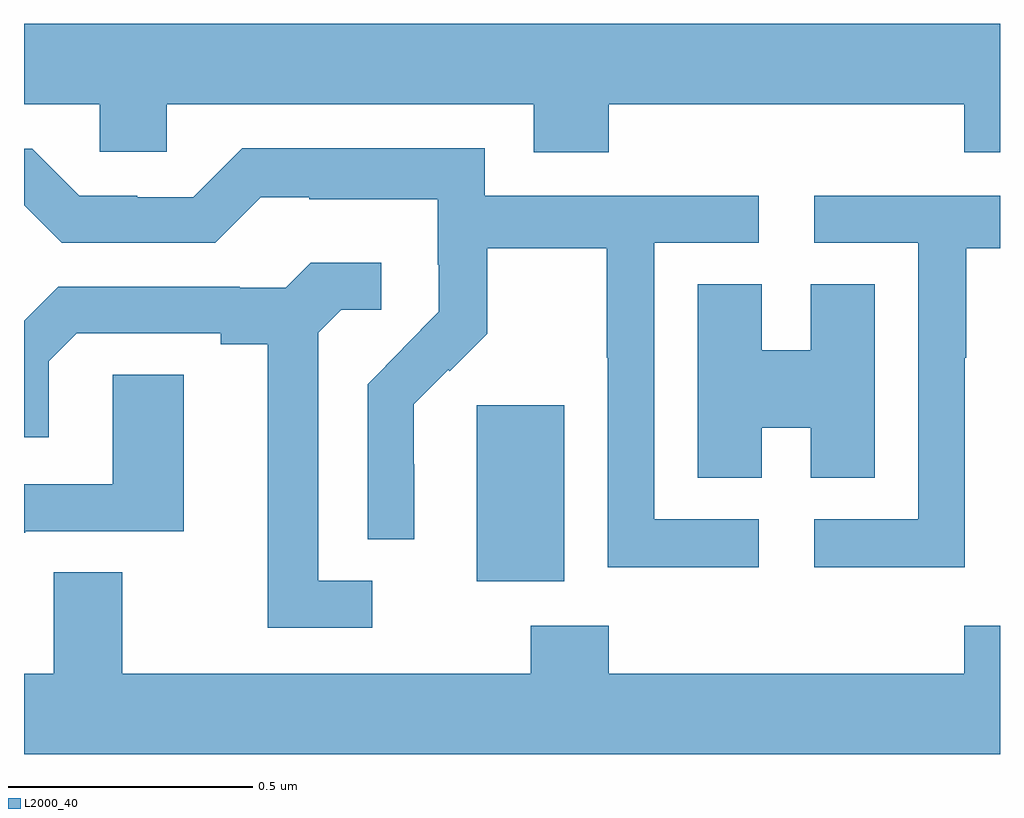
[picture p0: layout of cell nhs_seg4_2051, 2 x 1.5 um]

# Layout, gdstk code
import gdstk
lib = gdstk.Library(unit=1e-6, precision=1e-09)
def R(c, l, rs):  # rectangles x0, y0, x1, y1
    for r in rs: c.add(gdstk.rectangle(r[:2], r[2:], *l))
def P(c, l, *ps):  # polygons
    for p in ps: c.add(gdstk.Polygon(p, *l))
L2000_40 = (2000, 40)

nhs_seg4_2051 = lib.new_cell('nhs_seg4_2051')
R(nhs_seg4_2051, L2000_40, [(136.928,758.546,137.107,758.907)])
P(nhs_seg4_2051, L2000_40, [(137.198,759.524),(137.927,759.524),(137.927,759.425),(138,759.425),(138,759.688),(136,759.688),(136,759.524),(136.155,759.524),(136.155,759.426),(136.293,759.426),(136.293,759.524),(137.045,759.524),(137.045,759.425),(137.198,759.425)],
  [(137.506,758.673),(137.292,758.673),(137.292,759.24),(137.506,759.24),(137.506,759.336),(136.944,759.336),(136.944,759.433),(136.447,759.433),(136.347,759.333),(136.232,759.333),(136.232,759.336),(136.113,759.336),(136.017,759.432),(136,759.432),(136,759.317),(136.077,759.24),(136.392,759.24),(136.485,759.333),(136.585,759.333),(136.585,759.329),(136.848,759.329),(136.848,759.195),(136.85,759.195),(136.85,759.098),(136.776,759.024),(136.777,759.023),(136.704,758.95),(136.704,758.632),(136.8,758.632),(136.8,758.786),(136.799,758.786),(136.799,758.909),(136.869,758.979),(136.872,758.976),(136.949,759.053),(136.949,759.228),(137.194,759.228),(137.194,759.004),(137.196,759.004),(137.196,758.575),(137.506,758.575)],
  [(137.928,759.004),(137.931,759.004),(137.931,759.228),(138,759.228),(138,759.336),(137.619,759.336),(137.619,759.24),(137.832,759.24),(137.832,758.673),(137.619,758.673),(137.619,758.575),(137.928,758.575)],
  [(136.714,758.547),(136.603,758.547),(136.603,759.055),(136.65,759.102),(136.732,759.102),(136.732,759.199),(136.588,759.199),(136.536,759.147),(136.442,759.147),(136.442,759.15),(136.07,759.15),(136,759.08),(136,758.841),(136.051,758.841),(136.051,758.997),(136.108,759.054),(136.403,759.054),(136.403,759.032),(136.499,759.032),(136.499,758.451),(136.714,758.451)],
  [(137.512,758.861),(137.612,758.861),(137.612,758.758),(137.743,758.758),(137.743,759.155),(137.612,759.155),(137.612,759.019),(137.512,759.019),(137.512,759.155),(137.381,759.155),(137.381,758.758),(137.512,758.758)],
  [(136.003,758.649),(136.327,758.649),(136.327,758.969),(136.182,758.969),(136.182,758.745),(136,758.745),(136,758.645),(136.003,758.645)],
  [(138,758.455),(137.927,758.455),(137.927,758.356),(137.198,758.356),(137.198,758.455),(137.038,758.455),(137.038,758.356),(136.201,758.356),(136.201,758.564),(136.061,758.564),(136.061,758.356),(136,758.356),(136,758.192),(138,758.192)])

lib.write_gds('nhs_seg4_2051.gds')
